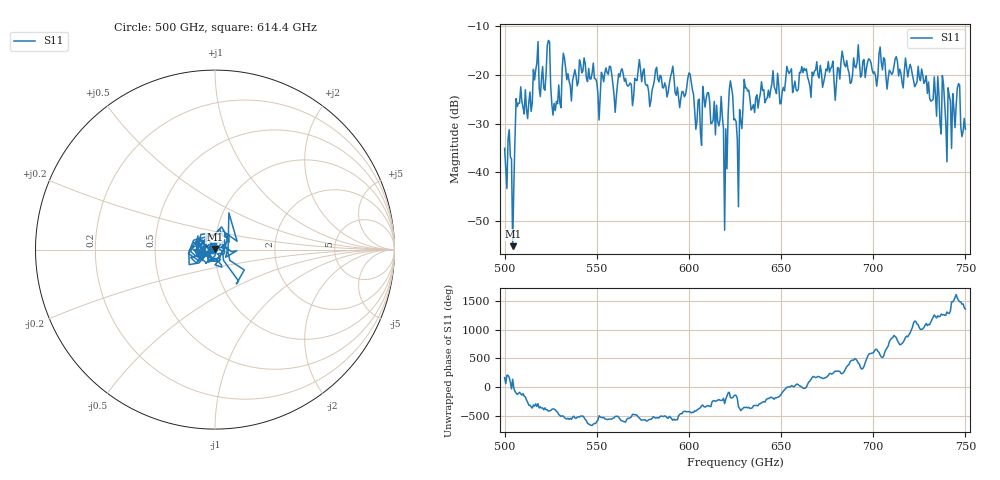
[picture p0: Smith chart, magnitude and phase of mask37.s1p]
!Created with skrf (http://scikit-rf.org).
# GHz S MA R 50.0
!freq magS11 angS11
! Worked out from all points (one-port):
!   401 points, 500 GHz to 750 GHz, reference 50 ohm
!   lowest |S11| = -55.1 dB at 504.4 GHz (marker M1), VSWR 1.00, Z = 49.9 + j0.124 ohm
!   |S11| at or under -10 dB: start of sweep to end of sweep
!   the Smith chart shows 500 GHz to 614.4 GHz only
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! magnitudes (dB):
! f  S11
! 500 GHz  -35.1
! 504.4 GHz  -55.1
! 507.5 GHz  -25.8
! 513.8 GHz  -23.5
! 516.9 GHz  -19.0
! 520.6 GHz  -18.3
! 523.8 GHz  -13.0
! 526.9 GHz  -25.9
! 531.2 GHz  -18.7
! 560 GHz  -27.7
! 562.5 GHz  -20.4
! 593.8 GHz  -22.6
! 600.6 GHz  -19.8
! 605.6 GHz  -25.0
! 610 GHz  -23.7
! 617.5 GHz  -24.4
! 619.4 GHz  -51.9
! 622.5 GHz  -21.2
! 625 GHz  -29.1
! 627.5 GHz  -27.1
! 631.2 GHz  -22.7
! 634.4 GHz  -26.8
! 656.2 GHz  -23.7
! 687.5 GHz  -21.8
! 718.8 GHz  -20.5
! 741.2 GHz  -24.3
! 746.2 GHz  -21.8
! 750 GHz  -31.2
